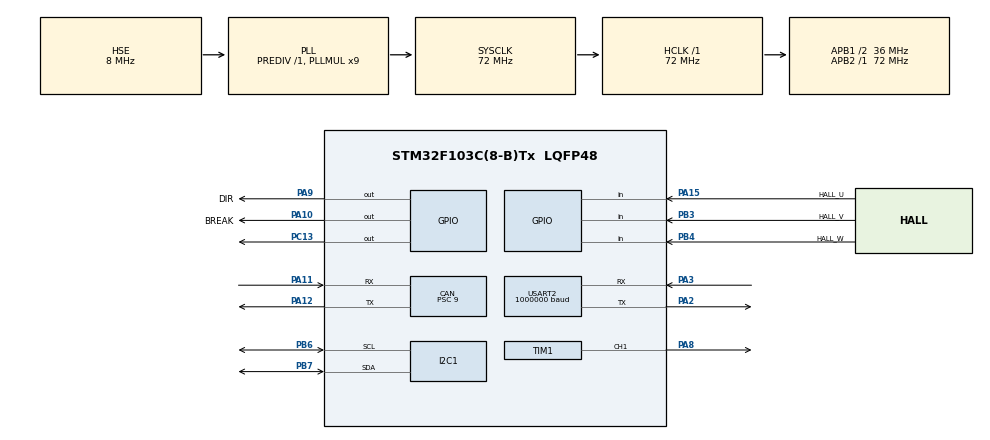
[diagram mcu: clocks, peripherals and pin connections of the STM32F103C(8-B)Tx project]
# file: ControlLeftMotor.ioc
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CAN.BS1=CAN_BS1_2TQ
CAN.CalculateBaudRate=1000000
CAN.CalculateTimeBit=1000
CAN.CalculateTimeQuantum=250.0
CAN.Prescaler=9
Dma.Request0=USART2_RX
Dma.Request1=USART2_TX
Dma.USART2_RX.0.Direction=DMA_PERIPH_TO_MEMORY
Dma.USART2_RX.0.Instance=DMA1_Channel6
Dma.USART2_RX.0.MemDataAlignment=DMA_MDATAALIGN_BYTE
Dma.USART2_RX.0.MemInc=DMA_MINC_ENABLE
Dma.USART2_RX.0.Mode=DMA_CIRCULAR
Dma.USART2_RX.0.PeriphDataAlignment=DMA_PDATAALIGN_BYTE
Dma.USART2_RX.0.PeriphInc=DMA_PINC_DISABLE
Dma.USART2_RX.0.Priority=DMA_PRIORITY_LOW
Dma.USART2_TX.1.Direction=DMA_MEMORY_TO_PERIPH
Dma.USART2_TX.1.Instance=DMA1_Channel7
Dma.USART2_TX.1.MemDataAlignment=DMA_MDATAALIGN_BYTE
Dma.USART2_TX.1.MemInc=DMA_MINC_ENABLE
Dma.USART2_TX.1.Mode=DMA_NORMAL
Dma.USART2_TX.1.PeriphDataAlignment=DMA_PDATAALIGN_BYTE
Dma.USART2_TX.1.PeriphInc=DMA_PINC_DISABLE
Dma.USART2_TX.1.Priority=DMA_PRIORITY_HIGH
FREERTOS.Tasks01=defaultTask,24,128,StartDefaultTask,Default,NULL,Dynamic,NULL,NULL;TaskReceiveCAN,48,128,ReceiveCAN,Default,NULL,Dynamic,NULL,NULL;TaskMControl,24,128,MotorControl,Default,NULL,Dynamic,NULL,NULL;TaskReadHall,48,128,ReadHall,Default,NULL,Dynamic,NULL,NULL
I2C1.DutyCycle=I2C_DUTYCYCLE_2
I2C1.I2C_Mode=I2C_Fast
Mcu.Family=STM32F1
Mcu.Name=STM32F103C(8-B)Tx
Mcu.Package=LQFP48
NVIC.DMA1_Channel6_IRQn=true\:5\:0\:false\:false\:true\:true\:false\:true\:true
NVIC.DMA1_Channel7_IRQn=true\:5\:0\:false\:false\:true\:true\:false\:true\:true
NVIC.PriorityGroup=NVIC_PRIORITYGROUP_4
NVIC.USART2_IRQn=true\:5\:0\:false\:false\:true\:true\:true\:true\:true
PA10.GPIO_Label=BREAK
PA10.GPIO_Speed=GPIO_SPEED_FREQ_HIGH
PA10.PinState=GPIO_PIN_SET
PA10.Signal=GPIO_Output
PA11.GPIO_Mode=GPIO_MODE_INPUT
PA11.GPIO_PuPd=GPIO_NOPULL
PA11.Mode=CAN_Activate
PA11.Signal=CAN_RX
PA12.Mode=CAN_Activate
PA12.Signal=CAN_TX
PA13.Mode=Serial_Wire
PA13.Signal=SYS_JTMS-SWDIO
PA14.Mode=Serial_Wire
PA14.Signal=SYS_JTCK-SWCLK
PA15.GPIO_Label=HALL_U
PA15.GPIO_Mode=GPIO_MODE_INPUT
PA15.GPIO_PuPd=GPIO_PULLUP
PA15.Signal=GPIO_Input
PA2.Mode=Asynchronous
PA2.Signal=USART2_TX
PA3.Mode=Asynchronous
PA3.Signal=USART2_RX
PA8.Signal=S_TIM1_CH1
PA9.GPIO_Label=DIR
PA9.GPIO_Speed=GPIO_SPEED_FREQ_HIGH
PA9.Signal=GPIO_Output
PB3.GPIO_Label=HALL_V
PB3.GPIO_Mode=GPIO_MODE_INPUT
PB3.GPIO_PuPd=GPIO_PULLUP
PB3.Signal=GPIO_Input
PB4.GPIO_Label=HALL_W
PB4.GPIO_Mode=GPIO_MODE_INPUT
PB4.GPIO_PuPd=GPIO_PULLUP
PB4.Signal=GPIO_Input
PB6.Mode=I2C
PB6.Signal=I2C1_SCL
PB7.Mode=I2C
PB7.Signal=I2C1_SDA
PC13-TAMPER-RTC.Signal=GPIO_Output
PD0-OSC_IN.Mode=HSE-External-Oscillator
PD0-OSC_IN.Signal=RCC_OSC_IN
PD1-OSC_OUT.Mode=HSE-External-Oscillator
PD1-OSC_OUT.Signal=RCC_OSC_OUT
ProjectManager.HeapSize=0x200
ProjectManager.StackSize=0x400
ProjectManager.TargetToolchain=MDK-ARM V5.32
RCC.AHBFreq_Value=72000000
RCC.APB1CLKDivider=RCC_HCLK_DIV2
RCC.APB1Freq_Value=36000000
RCC.APB1TimFreq_Value=72000000
RCC.APB2Freq_Value=72000000
RCC.APB2TimFreq_Value=72000000
RCC.HCLKFreq_Value=72000000
RCC.PLLMUL=RCC_PLL_MUL9
RCC.PLLSourceVirtual=RCC_PLLSOURCE_HSE
RCC.SYSCLKFreq_VALUE=72000000
RCC.SYSCLKSource=RCC_SYSCLKSOURCE_PLLCLK
RCC.USBFreq_Value=72000000
SH.S_TIM1_CH1.0=TIM1_CH1,PWM Generation1 CH1
TIM1.Channel-PWM\ Generation1\ CH1=TIM_CHANNEL_1
TIM1.Period=1000-1
TIM1.Prescaler=1800-1
USART2.BaudRate=1000000
USART2.VirtualMode=VM_ASYNC
VP_FREERTOS_VS_CMSIS_V2.Mode=CMSIS_V2
VP_TIM1_VS_ClockSourceINT.Mode=Internal
board=custom

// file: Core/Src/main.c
/* USER CODE BEGIN Header */
/**
 ******************************************************************************
 * @file           : main.c
 * @brief          : Main program body
 ******************************************************************************
 * @attention
 *
 * Copyright (c) 2025 STMicroelectronics.
 * All rights reserved.
 *
 * This software is licensed under terms that can be found in the LICENSE file
 * in the root directory of this software component.
 * If no LICENSE file comes with this software, it is provided AS-IS.
 *
 ******************************************************************************
 */
/* USER CODE END Header */
#include "main.h"
#include "cmsis_os.h"

/* USER CODE BEGIN Includes */
#include "string.h"
#include "math.h"
#include "pid.h"
#include "mpu6050.h"
#include "flashStorage.h"
#include <stdio.h>
/* USER CODE END Includes */

CAN_HandleTypeDef hcan;

I2C_HandleTypeDef hi2c1;

TIM_HandleTypeDef htim1;

UART_HandleTypeDef huart2;
DMA_HandleTypeDef hdma_usart2_rx;
DMA_HandleTypeDef hdma_usart2_tx;

/* Definitions for defaultTask */
osThreadId_t defaultTaskHandle;
const osThreadAttr_t defaultTask_attributes = {
    .name = "defaultTask",
    .stack_size = 128 * 4,
    .priority = (osPriority_t)osPriorityNormal,
};
/* Definitions for TaskReceiveCAN */
osThreadId_t TaskReceiveCANHandle;
const osThreadAttr_t TaskReceiveCAN_attributes = {
    .name = "TaskReceiveCAN",
    .stack_size = 128 * 4,
    .priority = (osPriority_t)osPriorityRealtime,
};
/* Definitions for TaskMControl */
osThreadId_t TaskMControlHandle;
const osThreadAttr_t TaskMControl_attributes = {
    .name = "TaskMControl",
    .stack_size = 128 * 4,
    .priority = (osPriority_t)osPriorityNormal,
};
/* Definitions for TaskReadHall */
osThreadId_t TaskReadHallHandle;
const osThreadAttr_t TaskReadHall_attributes = {
    .name = "TaskReadHall",
    .stack_size = 128 * 4,
    .priority = (osPriority_t)osPriorityRealtime,
};
/* USER CODE BEGIN PV */

//------------------------------------
// MPU9250
MPU6050_t MPU6050;
volatile float angleY = 0; // pitch
volatile float angleZ = 0; // yaw
volatile float gyroY = 0;  // Gy MPU6050 (don vi: deg/s)
volatile float gyroZ = 0;  // Gz
// PID
PID_t position_pid = {0};
PID_t speed_pid = {0};
PID_t pitch_pid = {0};
PID_t yaw_pid = {0};

#define CONTROL_DT 0.001f // 1 ms
#define MAX_SPEED_COMMAND 100.0f
#define JOYSTICK_DEADZONE 5.0f
//--------------------------------------
#define MAX_TILT_ANGLE 50.0f    // Góc nghiêng tối đa cho phép
#define MAX_MOVEMENT_TILT 15.0f // Góc nghiêng tối đa cho di chuyển
#define JOYSTICK_TO_TILT 0.15f  // Hệ số chuyển đổi joystick sang góc nghiêng
//--------------------------------------
#define MAX_GYRO_RATE 150.0f   // Giới hạn tốc độ góc tối đa
#define RECOVERY_KP_SCALE 0.7f // Hệ số giảm Kp khi phát hiện giật
#define RECOVERY_KD_SCALE 1.5f // Hệ số tăng Kd khi phát hiện giật
//--------------------------------------
#define BASE_PWM_FILTER_ALPHA 0.6f // Hệ số làm mượt cơ bản
#define FAST_PWM_FILTER_ALPHA 0.9f // Hệ số làm mượt khi góc lớn
#define ANGLE_THRESHOLD 5.0f       // Ngưỡng góc để thay đổi hệ số
#define MAX_PWM_CHANGE 30.0f       // Giới hạn thay đổi PWM mỗi chu kỳ
//-----------------------------------
#define MAX_PWM_OUTPUT 999.0f
#define COUNTS_PER_REV 90.0f         // 90 bước tương ứng 1 vòng quay
volatile float motorSpeedRPS = 0.0f; // tốc độ động cơ, revs per second
volatile float motorSpeedDPS = 0.0f; // tốc độ động cơ, degrees per second
//  == == PWM State == ==
float pwm_left_filtered = 0.0f;
// Cac bien toan cuc de luu trang thai hall sensor
volatile uint8_t currentState = 0;  // Trang thai hien tai cua hall sensor
volatile int8_t direction = 0;      // Huong quay cua dong co
volatile float positionOffset = 0;  // Vi tri offset
volatile uint8_t lastHallState = 0; // Trang thai hall sensor cu
volatile int32_t hallCounter = 0;   // dem so buoc (co dau: duong la quay thuan, am la quay nguoc)
float anglemotor = 0;               // Goc quay cua dong co
volatile uint8_t u = 0;
volatile uint8_t v = 0;
volatile uint8_t w = 0;
uint8_t checkrunFirtTime = 0; // Bien kiem tra lan dau doc Hall sensor
// CAN
uint8_t RxData[8] = {0};
volatile int16_t joyStickX = 0, joyStickY = 0;
CAN_RxHeaderTypeDef RxHeader;
volatile char *command = "";
// Flash danh dau PID da nhan du
typedef struct
{
  uint8_t hasKpKi;
  uint8_t hasKd;
} PID_Receive_Flags_t;
PID_Receive_Flags_t pidFlags[4] = {0}; // 0: pitch, 1: speed, 2: position, 3: yaw
// UART
uint8_t txBuffer1[50], txBuffer2[50];
volatile uint8_t activeBuffer = 0;
/* USER CODE END PV */

void SystemClock_Config(void);
static void MX_GPIO_Init(void);
static void MX_DMA_Init(void);
static void MX_CAN_Init(void);
static void MX_TIM1_Init(void);
static void MX_I2C1_Init(void);
static void MX_USART2_UART_Init(void);
void StartDefaultTask(void *argument);
void ReceiveCAN(void *argument);
void MotorControl(void *argument);
void ReadHall(void *argument);

/* USER CODE BEGIN PFP */
void updateMotors(float PWM);
void controlLoop(void);
// Ham doc trang thai hall sensor: ghep 3 tin hieu thanh 1 gia tri 3-bit
uint8_t readHallState(void);
// Ham xac dinh huong quay dua vao su chuyen doi trang thai
// Gia su cac trang thai hop le la: 101 (5), 100 (4), 110 (6), 010 (2), 011 (3), 001 (1)
// Forward sequence (quay thuan): 5 -> 4 -> 6 -> 2 -> 3 -> 1 -> 5...
// Reverse sequence (quay nguoc): 5 -> 1 -> 3 -> 2 -> 6 -> 4 -> 5...
int8_t getDirection(uint8_t last, uint8_t current);
// Ham tinh goc quay cua dong co
// Voi gia dinh: 45 bu?c (transition) tuong duong 1 vong quay => moi buoc = 8 do
float getMotorAngle(void);
// Ham nhan tin hieu CAN va xu ly CAN
void HAL_CAN_RxFifo0MsgPendingCallback(CAN_HandleTypeDef *hcan);
// ==== PWM Smoothing ====
float SmoothPWM(float prev, float target);
// ==== Clamp PWM Output ====
float ClampPWM(float pwm);
void ComputeMotorSpeed(void);
int float_to_str(float value, uint8_t *buffer);
void send_imu_data(float ay, float az, float gy, float gz);
void TryWritePIDToFlashIfReady(void);
/* USER CODE END PFP */

int main(void)
{

  /* MCU Configuration--------------------------------------------------------*/

  /* Reset of all peripherals, Initializes the Flash interface and the Systick. */
  HAL_Init();

  /* Configure the system clock */
  SystemClock_Config();

  /* Initialize all configured peripherals */
  MX_GPIO_Init();
  MX_DMA_Init();
  MX_CAN_Init();
  MX_TIM1_Init();
  MX_I2C1_Init();
  MX_USART2_UART_Init();
  /* USER CODE BEGIN 2 */
  MPU6050_Init(&hi2c1, 2, 2, 0x03);
  HAL_Delay(100);

  // Bật chế độ Master (nếu dùng đọc từ HMC5883L qua MPU6050)
  MPU6050_Master(&hi2c1);

  // Setup HMC5883L thông qua MPU6050 (MPU6050 làm master, HMC là slave)
  HMC5883L_Setup(&hi2c1);

  // Setup đọc dữ liệu từ HMC5883L qua MPU6050
  MPU6050_Slave_Read(&hi2c1);

  HAL_TIM_PWM_Start(&htim1, TIM_CHANNEL_1);

  // Doc thong so PID tu bo nho flash
  if (Flash_Read_PID(&position_pid, &speed_pid, &pitch_pid, &yaw_pid) != HAL_OK)
  {
    // Nếu chưa có dữ liệu hợp lệ thì dùng giá trị mặc định
    Flash_Load_Default_PID(&position_pid, &speed_pid, &pitch_pid, &yaw_pid);

    // Và ghi giá trị mặc định đó vào Flash
    Flash_Write_PID(&position_pid, &speed_pid, &pitch_pid, &yaw_pid);
  }
  // Bat yeu cau ngat khi du lieu CAN nhan ve duoc luu tru goi tin o FIFO1 khi dung ID
  if (HAL_CAN_Start(&hcan) != HAL_OK)
  {
    Error_Handler();
  }
  HAL_CAN_ActivateNotification(&hcan, CAN_IT_RX_FIFO0_MSG_PENDING);
  // Enable CAN RX interrupt
  HAL_NVIC_SetPriority(CAN1_RX0_IRQn, 5, 0);
  HAL_NVIC_EnableIRQ(CAN1_RX0_IRQn);
  // UART
  HAL_UART_Init(&huart2);
  /* USER CODE END 2 */

  /* Init scheduler */
  osKernelInitialize();

  /* Create the thread(s) */
  /* creation of defaultTask */
  defaultTaskHandle = osThreadNew(StartDefaultTask, NULL, &defaultTask_attributes);

  /* creation of TaskReceiveCAN */
  TaskReceiveCANHandle = osThreadNew(ReceiveCAN, NULL, &TaskReceiveCAN_attributes);

  /* creation of TaskMControl */
  TaskMControlHandle = osThreadNew(MotorControl, NULL, &TaskMControl_attributes);

  /* creation of TaskReadHall */
  TaskReadHallHandle = osThreadNew(ReadHall, NULL, &TaskReadHall_attributes);

  /* Start scheduler */
  osKernelStart();

  /* We should never get here as control is now taken by the scheduler */

  /* Infinite loop */
  while (1)
  {

  }
}

void SystemClock_Config(void)
{
  RCC_OscInitTypeDef RCC_OscInitStruct = {0};
  RCC_ClkInitTypeDef RCC_ClkInitStruct = {0};

  /** Initializes the RCC Oscillators according to the specified parameters
   * in the RCC_OscInitTypeDef structure.
   */
  RCC_OscInitStruct.OscillatorType = RCC_OSCILLATORTYPE_HSE;
  RCC_OscInitStruct.HSEState = RCC_HSE_ON;
  RCC_OscInitStruct.HSEPredivValue = RCC_HSE_PREDIV_DIV1;
  RCC_OscInitStruct.HSIState = RCC_HSI_ON;
  RCC_OscInitStruct.PLL.PLLState = RCC_PLL_ON;
  RCC_OscInitStruct.PLL.PLLSource = RCC_PLLSOURCE_HSE;
  RCC_OscInitStruct.PLL.PLLMUL = RCC_PLL_MUL9;
  if (HAL_RCC_OscConfig(&RCC_OscInitStruct) != HAL_OK)
  {
    Error_Handler();
  }

  /** Initializes the CPU, AHB and APB buses clocks
   */
  RCC_ClkInitStruct.ClockType = RCC_CLOCKTYPE_HCLK | RCC_CLOCKTYPE_SYSCLK | RCC_CLOCKTYPE_PCLK1 | RCC_CLOCKTYPE_PCLK2;
  RCC_ClkInitStruct.SYSCLKSource = RCC_SYSCLKSOURCE_PLLCLK;
  RCC_ClkInitStruct.AHBCLKDivider = RCC_SYSCLK_DIV1;
  RCC_ClkInitStruct.APB1CLKDivider = RCC_HCLK_DIV2;
  RCC_ClkInitStruct.APB2CLKDivider = RCC_HCLK_DIV1;

  if (HAL_RCC_ClockConfig(&RCC_ClkInitStruct, FLASH_LATENCY_2) != HAL_OK)
  {
    Error_Handler();
  }
}

static void MX_CAN_Init(void)
{

  hcan.Instance = CAN1;
  hcan.Init.Prescaler = 9;
  hcan.Init.Mode = CAN_MODE_NORMAL;
  hcan.Init.SyncJumpWidth = CAN_SJW_1TQ;
  hcan.Init.TimeSeg1 = CAN_BS1_2TQ;
  hcan.Init.TimeSeg2 = CAN_BS2_1TQ;
  hcan.Init.TimeTriggeredMode = DISABLE;
  hcan.Init.AutoBusOff = DISABLE;
  hcan.Init.AutoWakeUp = DISABLE;
  hcan.Init.AutoRetransmission = DISABLE;
  hcan.Init.ReceiveFifoLocked = DISABLE;
  hcan.Init.TransmitFifoPriority = DISABLE;
  if (HAL_CAN_Init(&hcan) != HAL_OK)
  {
    Error_Handler();
  }
  /* USER CODE BEGIN CAN_Init 2 */
  CAN_FilterTypeDef canfilterconfig;

  canfilterconfig.FilterActivation = CAN_FILTER_ENABLE;
  canfilterconfig.FilterBank = 0;
  canfilterconfig.FilterFIFOAssignment = CAN_RX_FIFO0;
  canfilterconfig.FilterIdHigh = 0x0000 << 5; // Chap nhan tat ca cac ID
  canfilterconfig.FilterIdLow = 0x0000;
  canfilterconfig.FilterMaskIdHigh = 0x0000 << 5; // Chap nhan tat ca cac ID
  canfilterconfig.FilterMaskIdLow = 0x0000;
  canfilterconfig.FilterMode = CAN_FILTERMODE_IDMASK;
  canfilterconfig.FilterScale = CAN_FILTERSCALE_32BIT;
  canfilterconfig.SlaveStartFilterBank = 0;

  HAL_CAN_ConfigFilter(&hcan, &canfilterconfig);
  HAL_NVIC_SetPriority(CAN1_RX0_IRQn, 0, 0);
  HAL_NVIC_EnableIRQ(CAN1_RX0_IRQn);
  /* USER CODE END CAN_Init 2 */
}

static void MX_I2C1_Init(void)
{

  hi2c1.Instance = I2C1;
  hi2c1.Init.ClockSpeed = 400000;
  hi2c1.Init.DutyCycle = I2C_DUTYCYCLE_2;
  hi2c1.Init.OwnAddress1 = 0;
  hi2c1.Init.AddressingMode = I2C_ADDRESSINGMODE_7BIT;
  hi2c1.Init.DualAddressMode = I2C_DUALADDRESS_DISABLE;
  hi2c1.Init.OwnAddress2 = 0;
  hi2c1.Init.GeneralCallMode = I2C_GENERALCALL_DISABLE;
  hi2c1.Init.NoStretchMode = I2C_NOSTRETCH_DISABLE;
  if (HAL_I2C_Init(&hi2c1) != HAL_OK)
  {
    Error_Handler();
  }
}

static void MX_TIM1_Init(void)
{

  TIM_ClockConfigTypeDef sClockSourceConfig = {0};
  TIM_MasterConfigTypeDef sMasterConfig = {0};
  TIM_OC_InitTypeDef sConfigOC = {0};
  TIM_BreakDeadTimeConfigTypeDef sBreakDeadTimeConfig = {0};

  htim1.Instance = TIM1;
  htim1.Init.Prescaler = 1800 - 1;
  htim1.Init.CounterMode = TIM_COUNTERMODE_UP;
  htim1.Init.Period = 1000 - 1;
  htim1.Init.ClockDivision = TIM_CLOCKDIVISION_DIV1;
  htim1.Init.RepetitionCounter = 0;
  htim1.Init.AutoReloadPreload = TIM_AUTORELOAD_PRELOAD_DISABLE;
  if (HAL_TIM_Base_Init(&htim1) != HAL_OK)
  {
    Error_Handler();
  }
  sClockSourceConfig.ClockSource = TIM_CLOCKSOURCE_INTERNAL;
  if (HAL_TIM_ConfigClockSource(&htim1, &sClockSourceConfig) != HAL_OK)
  {
    Error_Handler();
  }
  if (HAL_TIM_PWM_Init(&htim1) != HAL_OK)
  {
    Error_Handler();
  }
  sMasterConfig.MasterOutputTrigger = TIM_TRGO_RESET;
  sMasterConfig.MasterSlaveMode = TIM_MASTERSLAVEMODE_DISABLE;
  if (HAL_TIMEx_MasterConfigSynchronization(&htim1, &sMasterConfig) != HAL_OK)
  {
    Error_Handler();
  }
  sConfigOC.OCMode = TIM_OCMODE_PWM1;
  sConfigOC.Pulse = 0;
  sConfigOC.OCPolarity = TIM_OCPOLARITY_HIGH;
  sConfigOC.OCNPolarity = TIM_OCNPOLARITY_HIGH;
  sConfigOC.OCFastMode = TIM_OCFAST_DISABLE;
  sConfigOC.OCIdleState = TIM_OCIDLESTATE_RESET;
  sConfigOC.OCNIdleState = TIM_OCNIDLESTATE_RESET;
  if (HAL_TIM_PWM_ConfigChannel(&htim1, &sConfigOC, TIM_CHANNEL_1) != HAL_OK)
  {
    Error_Handler();
  }
  sBreakDeadTimeConfig.OffStateRunMode = TIM_OSSR_DISABLE;
  sBreakDeadTimeConfig.OffStateIDLEMode = TIM_OSSI_DISABLE;
  sBreakDeadTimeConfig.LockLevel = TIM_LOCKLEVEL_OFF;
  sBreakDeadTimeConfig.DeadTime = 0;
  sBreakDeadTimeConfig.BreakState = TIM_BREAK_DISABLE;
  sBreakDeadTimeConfig.BreakPolarity = TIM_BREAKPOLARITY_HIGH;
  sBreakDeadTimeConfig.AutomaticOutput = TIM_AUTOMATICOUTPUT_DISABLE;
  if (HAL_TIMEx_ConfigBreakDeadTime(&htim1, &sBreakDeadTimeConfig) != HAL_OK)
  {
    Error_Handler();
  }
  HAL_TIM_MspPostInit(&htim1);
}

static void MX_USART2_UART_Init(void)
{

  huart2.Instance = USART2;
  huart2.Init.BaudRate = 1000000;
  huart2.Init.WordLength = UART_WORDLENGTH_8B;
  huart2.Init.StopBits = UART_STOPBITS_1;
  huart2.Init.Parity = UART_PARITY_NONE;
  huart2.Init.Mode = UART_MODE_TX_RX;
  huart2.Init.HwFlowCtl = UART_HWCONTROL_NONE;
  huart2.Init.OverSampling = UART_OVERSAMPLING_16;
  if (HAL_UART_Init(&huart2) != HAL_OK)
  {
    Error_Handler();
  }
  /* USER CODE BEGIN USART2_Init 2 */
  huart2.Instance->CR3 |= USART_CR3_DMAT;
  /* USER CODE END USART2_Init 2 */
}

static void MX_DMA_Init(void)
{

  /* DMA controller clock enable */
  __HAL_RCC_DMA1_CLK_ENABLE();

  /* DMA interrupt init */
  /* DMA1_Channel6_IRQn interrupt configuration */
  HAL_NVIC_SetPriority(DMA1_Channel6_IRQn, 5, 0);
  HAL_NVIC_EnableIRQ(DMA1_Channel6_IRQn);
  /* DMA1_Channel7_IRQn interrupt configuration */
  HAL_NVIC_SetPriority(DMA1_Channel7_IRQn, 5, 0);
  HAL_NVIC_EnableIRQ(DMA1_Channel7_IRQn);
}

static void MX_GPIO_Init(void)
{
  GPIO_InitTypeDef GPIO_InitStruct = {0};

  /* GPIO Ports Clock Enable */
  __HAL_RCC_GPIOC_CLK_ENABLE();
  __HAL_RCC_GPIOD_CLK_ENABLE();
  __HAL_RCC_GPIOA_CLK_ENABLE();
  __HAL_RCC_GPIOB_CLK_ENABLE();

  /*Configure GPIO pin Output Level */
  HAL_GPIO_WritePin(GPIOC, GPIO_PIN_13, GPIO_PIN_RESET);

  /*Configure GPIO pin Output Level */
  HAL_GPIO_WritePin(DIR_GPIO_Port, DIR_Pin, GPIO_PIN_RESET);

  /*Configure GPIO pin Output Level */
  HAL_GPIO_WritePin(BREAK_GPIO_Port, BREAK_Pin, GPIO_PIN_SET);

  /*Configure GPIO pin : PC13 */
  GPIO_InitStruct.Pin = GPIO_PIN_13;
  GPIO_InitStruct.Mode = GPIO_MODE_OUTPUT_PP;
  GPIO_InitStruct.Pull = GPIO_NOPULL;
  GPIO_InitStruct.Speed = GPIO_SPEED_FREQ_LOW;
  HAL_GPIO_Init(GPIOC, &GPIO_InitStruct);

  /*Configure GPIO pins : DIR_Pin BREAK_Pin */
  GPIO_InitStruct.Pin = DIR_Pin | BREAK_Pin;
  GPIO_InitStruct.Mode = GPIO_MODE_OUTPUT_PP;
  GPIO_InitStruct.Pull = GPIO_NOPULL;
  GPIO_InitStruct.Speed = GPIO_SPEED_FREQ_HIGH;
  HAL_GPIO_Init(GPIOA, &GPIO_InitStruct);

  /*Configure GPIO pin : HALL_U_Pin */
  GPIO_InitStruct.Pin = HALL_U_Pin;
  GPIO_InitStruct.Mode = GPIO_MODE_INPUT;
  GPIO_InitStruct.Pull = GPIO_PULLUP;
  HAL_GPIO_Init(HALL_U_GPIO_Port, &GPIO_InitStruct);

  /*Configure GPIO pins : HALL_V_Pin HALL_W_Pin */
  GPIO_InitStruct.Pin = HALL_V_Pin | HALL_W_Pin;
  GPIO_InitStruct.Mode = GPIO_MODE_INPUT;
  GPIO_InitStruct.Pull = GPIO_PULLUP;
  HAL_GPIO_Init(GPIOB, &GPIO_InitStruct);

}

/* USER CODE BEGIN 4 */
void HAL_CAN_RxFifo0MsgPendingCallback(CAN_HandleTypeDef *hcan)
{
  int16_t rawjoyStickX = 0;
  int16_t rawjoyStickY = 0;
  if (HAL_CAN_GetRxMessage(hcan, CAN_RX_FIFO0, &RxHeader, RxData) == HAL_OK)
  {
    switch (RxHeader.StdId)
    {
    case 0x447: // Nhan gia tri joystick X
      rawjoyStickX = RxData[0] ? (((int16_t)RxData[1] << 8) | RxData[2]) : -(((int16_t)RxData[1] << 8) | RxData[2]);
      joyStickX = (rawjoyStickX > 100 || rawjoyStickX < -100) ? 0 : rawjoyStickX;
      break;
    case 0x448: // Nhan gia tri joystick Y
      rawjoyStickY = RxData[0] ? (((int16_t)RxData[1] << 8) | RxData[2]) : -(((int16_t)RxData[1] << 8) | RxData[2]);
      joyStickY = (rawjoyStickY > 100 || rawjoyStickY < -100) ? 0 : rawjoyStickY;
      break;
    case 0x500: // Pitch Kp/Ki
      memcpy(&pitch_pid.Kp, &RxData[0], sizeof(float));
      memcpy(&pitch_pid.Ki, &RxData[4], sizeof(float));
      pidFlags[0].hasKpKi = 1;
      TryWritePIDToFlashIfReady();
      break;

    case 0x501: // Speed Kp/Ki
      memcpy(&speed_pid.Kp, &RxData[0], sizeof(float));
      memcpy(&speed_pid.Ki, &RxData[4], sizeof(float));
      pidFlags[1].hasKpKi = 1;
      TryWritePIDToFlashIfReady();
      break;

    case 0x502: // Position Kp/Ki
      memcpy(&position_pid.Kp, &RxData[0], sizeof(float));
      memcpy(&position_pid.Ki, &RxData[4], sizeof(float));
      pidFlags[2].hasKpKi = 1;
      TryWritePIDToFlashIfReady();
      break;

    case 0x503: // Yaw Kp/Ki
      memcpy(&yaw_pid.Kp, &RxData[0], sizeof(float));
      memcpy(&yaw_pid.Ki, &RxData[4], sizeof(float));
      pidFlags[3].hasKpKi = 1;
      TryWritePIDToFlashIfReady();
      break;

    case 0x510: // Pitch Kd
      memcpy(&pitch_pid.Kd, &RxData[0], sizeof(float));
      pidFlags[0].hasKd = 1;
      TryWritePIDToFlashIfReady();
      break;

    case 0x511: // Speed Kd
      memcpy(&speed_pid.Kd, &RxData[0], sizeof(float));
      pidFlags[1].hasKd = 1;
      TryWritePIDToFlashIfReady();
      break;

    case 0x512: // Position Kd
      memcpy(&position_pid.Kd, &RxData[0], sizeof(float));
      pidFlags[2].hasKd = 1;
      TryWritePIDToFlashIfReady();
      break;

    case 0x513: // Yaw Kd
      memcpy(&yaw_pid.Kd, &RxData[0], sizeof(float));
      pidFlags[3].hasKd = 1;
      TryWritePIDToFlashIfReady();
      break;
    default:
      Error_Handler();
      break;
    }
  }
  else
  {
    Error_Handler();
  }
}

void TryWritePIDToFlashIfReady(void)
{
  for (int i = 0; i < 4; i++)
  {
    if (!pidFlags[i].hasKpKi || !pidFlags[i].hasKd)
      return; // chưa nhận đủ PID
  }

  // Đã đủ → ghi vào Flash
  Flash_Write_PID(&position_pid, &speed_pid, &pitch_pid, &yaw_pid);

  // Reset cờ
  for (int i = 0; i < 4; i++)
  {
    pidFlags[i].hasKpKi = 0;
    pidFlags[i].hasKd = 0;
  }
}

void HAL_UART_TxCpltCallback(UART_HandleTypeDef *huart)
{
  if (huart->Instance == USART2)
  {
    //    HAL_GPIO_TogglePin(GPIOC,GPIO_PIN_13);
    //		HAL_Delay(100);
  }
}

int float_to_str(float value, uint8_t *buffer)
{
  uint8_t *ptr = buffer;

  if (value < 0)
  {
    *ptr++ = '-';
    value = -value;
  }

  int integer = (int)value;
  int fraction = (int)((value - integer) * 1000 + 0.5f);

  if (integer >= 100)
  {
    *ptr++ = '0' + integer / 100;
    integer %= 100;
  }
  *ptr++ = '0' + integer / 10;
  *ptr++ = '0' + integer % 10;
  *ptr++ = '.';
  *ptr++ = '0' + fraction / 100;
  *ptr++ = '0' + (fraction / 10) % 10;
  *ptr++ = '0' + fraction % 10;

  return ptr - buffer;
}

void send_imu_data(float ay, float az, float gy, float gz)
{
  static char uart_buffer[50] = "0"; // Static buffer to avoid stack issues
  int len = 0;

  // Format theo đúng mẫu "ay:12.345,az:23.456,gy:34.567,gz:45.678\n"
  len = sprintf(uart_buffer, "ay:%.3f,az:%.3f,gy:%.3f,gz:%.3f\n",
                ay, az, gy, gz);

  // Kiểm tra trạng thái UART và DMA
  if (huart2.gState == HAL_UART_STATE_READY &&
      huart2.hdmatx->State == HAL_DMA_STATE_READY)
  {
    if (HAL_UART_Transmit_DMA(&huart2, (uint8_t *)uart_buffer, len) != HAL_OK)
    {
      // Fallback to normal transmission if DMA fails
      HAL_UART_Transmit(&huart2, (uint8_t *)uart_buffer, len, 10);
    }
  }
}

void updateMotors(float PWM)
{
  float target_abs_pwm = fminf(fabsf(PWM), MAX_PWM_OUTPUT);
  if (target_abs_pwm >= -1 && target_abs_pwm <= 1)
  {
    HAL_GPIO_WritePin(BREAK_GPIO_Port, BREAK_Pin, GPIO_PIN_SET);
  }
  else
  {
    HAL_GPIO_WritePin(BREAK_GPIO_Port, BREAK_Pin, GPIO_PIN_RESET);
    HAL_GPIO_WritePin(DIR_GPIO_Port, DIR_Pin, PWM > 0 ? GPIO_PIN_RESET : GPIO_PIN_SET);
    __HAL_TIM_SET_COMPARE(&htim1, TIM_CHANNEL_1, (uint32_t)fabsf(target_abs_pwm));
  }
}

uint8_t readHallState(void)
{
  // Doc trang thai hall sensor
  // Ghep 3 trang thai thanh 1 gia tri 3-bit
  u = HAL_GPIO_ReadPin(HALL_U_GPIO_Port, HALL_U_Pin);
  v = HAL_GPIO_ReadPin(HALL_V_GPIO_Port, HALL_V_Pin);
  w = HAL_GPIO_ReadPin(HALL_W_GPIO_Port, HALL_W_Pin);
  return (u << 2) | (v << 1) | w;
}

int8_t getDirection(uint8_t last, uint8_t current)
{
  // Bang chuyen doi trang thai hop le
  // Gia su cac trang thai hop le la: 101 (5), 100 (4), 110 (6), 010 (2), 011 (3), 001 (1)
  const uint8_t validTransitions[12][2] = {
      {5, 4}, {4, 6}, {6, 2}, {2, 3}, {3, 1}, {1, 5}, // Forward
      {5, 1},
      {1, 3},
      {3, 2},
      {2, 6},
      {6, 4},
      {4, 5} // Reverse
  };
  for (int i = 0; i < 12; i++)
  {
    if (last == validTransitions[i][0] && current == validTransitions[i][1])
    {
      return (i < 6) ? 1 : -1;
    }
  }
  return 0; // Trang thai khong hop le
  //	return current!= last ? 1:0;
}

float getMotorAngle(void)
{
  return ((float)hallCounter / 90.0f) * 360.0f; // Hoac: hallCounter * 8.0f;
}

// ==== Clamp PWM Output ====
float ClampPWM(float pwm)
{
  if (pwm > MAX_PWM_OUTPUT)
    return MAX_PWM_OUTPUT;
  if (pwm < -MAX_PWM_OUTPUT)
    return -MAX_PWM_OUTPUT;
  return pwm;
}

// ==== PWM Smoothing ====
float SmoothPWM(float prev, float target)
{
  float currentAngle = angleY;
  float currentGyro = gyroY;
  float alpha = 0;
  float max_change = 0;

  // Điều chỉnh giới hạn thay đổi PWM theo góc nghiêng
  if (fabsf(currentAngle) > 30.0f)
  {
    max_change = MAX_PWM_CHANGE * 4.0f; // Tăng giới hạn nhiều hơn
    alpha = 1.0f;                       // Không làm mượt ở góc lớn
  }
  else if (fabsf(currentAngle) > 15.0f)
  {
    max_change = MAX_PWM_CHANGE * 3.0f;
    alpha = FAST_PWM_FILTER_ALPHA;
  }
  else if (fabsf(currentAngle) > 5.0f)
  {
    max_change = MAX_PWM_CHANGE * 2.0f;
    alpha = (BASE_PWM_FILTER_ALPHA + FAST_PWM_FILTER_ALPHA) / 2;
  }
  else
  {
    max_change = MAX_PWM_CHANGE;
    alpha = BASE_PWM_FILTER_ALPHA;
  }

  float delta = target - prev;
  if (delta > max_change)
    delta = max_change;
  if (delta < -max_change)
    delta = -max_change;

  return prev + alpha * delta;
}
/* Hàm tính tốc độ động cơ — gọi mỗi khi controlLoop chạy */
void ComputeMotorSpeed(void)
{
  static int32_t lastHallCount = 0;
  int32_t deltaCount = hallCounter - lastHallCount;

  // 1) Tính rev/s (revolutions per second)
  motorSpeedRPS = (deltaCount / COUNTS_PER_REV) / CONTROL_DT;

  // 2) Nếu muốn độ/giây (degrees per second)
  motorSpeedDPS = (deltaCount * 360.0f / COUNTS_PER_REV) / CONTROL_DT;

  // Cập nhật cho lần sau
  lastHallCount = hallCounter;
}
void controlLoop(void)
{
  float currentAngle = angleY;
  float currentGyro = gyroY;
  ComputeMotorSpeed();

  // Kiểm tra góc an toàn
  if (fabsf(currentAngle) < MAX_TILT_ANGLE)
  {
    float speed_cmd = 0;   // Tốc độ mong muốn từ PID tốc độ
    float balance_cmd = 0; // Moment cân bằng từ PID góc
    float pwm_output = 0;  // PWM cuối cùng

    static int32_t initialPosition = 0;
    static uint8_t isHolding = 0;
    static uint8_t isInitialized = 0;
    int32_t currentSpeed = motorSpeedRPS * COUNTS_PER_REV;

    // 1. Điều khiển vị trí (tầng ngoài nhất)
    if (fabsf((float_t)joyStickY) > JOYSTICK_DEADZONE)
    {
      // Chế độ điều khiển tốc độ từ joystick
      float velocity_target = (joyStickY / 100.0f) * MAX_SPEED_COMMAND;
      speed_cmd = PID_Compute(&speed_pid, velocity_target, currentSpeed, CONTROL_DT);
      isHolding = 0;
      isInitialized = 0;
    }
    else if (fabsf(currentAngle) < 15.0f)
    {
      // Chế độ giữ vị trí
      if (!isInitialized)
      {
        initialPosition = hallCounter;
        isInitialized = 1;
        isHolding = 1;
        PID_Reset(&position_pid);
        PID_Reset(&speed_pid);
      }

      if (isHolding)
      {
        // PID vị trí -> tốc độ mong muốn
        float position_cmd = PID_Compute(&position_pid, initialPosition, hallCounter, CONTROL_DT);
        position_cmd = fminf(fmaxf(position_cmd, -30.0f), 30.0f);

        // PID tốc độ -> moment cần thiết
        speed_cmd = PID_Compute(&speed_pid, position_cmd, currentSpeed, CONTROL_DT);
        speed_cmd = fminf(fmaxf(speed_cmd, -30.0f), 30.0f);
      }
    }

    // 2. Điều khiển cân bằng (tầng trong cùng)
    //    float base_Kp = 24.0f;
    //    float base_Kd = 0.8f;
    float base_Kp = pitch_pid.Kp;
    float base_Kd = pitch_pid.Kd;
    float Kp = base_Kp;
    float Kd = base_Kd;

    // Điều chỉnh hệ số theo góc nghiêng
    if (fabsf(currentAngle) > 20.0f)
    {
      Kp = base_Kp * 1.5f; // Tăng mạnh khi góc lớn
      Kd = base_Kd * 1.3f;
    }
    else if (fabsf(currentAngle) > 10.0f)
    {
      Kp = base_Kp * 1.2f;
      Kd = base_Kd * 1.1f;
    }
    else if (fabsf(currentAngle) < 5.0f)
    {
      Kp = base_Kp * 0.8f; // Giảm khi gần cân bằng
      Kd = base_Kd * 1.2f;
    }

    // Xử lý chuyển động đột ngột
    if (fabsf(currentGyro) > MAX_GYRO_RATE)
    {
      Kp *= RECOVERY_KP_SCALE;
      Kd *= RECOVERY_KD_SCALE;
    }

    // Tính toán moment cân bằng
    float target_angle = 0;
    if (fabsf((float_t)joyStickY) > JOYSTICK_DEADZONE)
    {
      target_angle = -(joyStickY / 100.0f) * MAX_MOVEMENT_TILT;
    }
    float angleError = currentAngle - target_angle;
    balance_cmd = Kp * angleError + Kd * currentGyro;

    // 3. Tổng hợp các thành phần điều khiển
    float balance_weight = 1.0f;
    float speed_weight = 0.3f;
    pwm_output = -balance_weight * balance_cmd + speed_weight * speed_cmd;

    // 4. Xử lý quay (turning)
    if (fabsf((float_t)joyStickX) <= 100)
    {
      float base_turn_power = 200.0f;
      float angle_factor = 1.0f - (fabsf(currentAngle) / MAX_TILT_ANGLE);
      float turn_cmd = (joyStickX / 100.0f) * base_turn_power * angle_factor;
      pwm_output += turn_cmd;
    }

    // 5. Giới hạn và làm mượt PWM
    pwm_output = ClampPWM(pwm_output);
    pwm_left_filtered = SmoothPWM(pwm_left_filtered, pwm_output);
    pwm_left_filtered = ClampPWM(pwm_left_filtered);

    // 6. Xuất PWM ra động cơ
    updateMotors(pwm_left_filtered);
  }
  else
  {
    // Dừng động cơ khi vượt quá góc an toàn
    updateMotors(0);
    pwm_left_filtered = 0;
  }
}
/* USER CODE END 4 */

void StartDefaultTask(void *argument)
{
  for (;;)
  {
    osDelay(1);
  }
}

void ReceiveCAN(void *argument)
{
  /* USER CODE BEGIN ReceiveCAN */
  /* Infinite loop */
  for (;;)
  {
    MPU6050_Read_All(&hi2c1, &MPU6050);
    MPU6050_Parsing(&MPU6050);
    angleY = MPU6050.Pitch;
    angleZ = MPU6050.Yaw;
    gyroY = MPU6050.Gy;
    gyroZ = MPU6050.Gz;
    send_imu_data(angleY, angleZ, gyroY, gyroZ);
    osDelay(1);
  }
  /* USER CODE END ReceiveCAN */
}

void MotorControl(void *argument)
{
  /* USER CODE BEGIN MotorControl */
  /* Infinite loop */
  for (;;)
  {
    controlLoop();
    osDelay(1);
  }
  /* USER CODE END MotorControl */
}

void ReadHall(void *argument)
{
  /* USER CODE BEGIN ReadHall */
  /* Infinite loop */
  for (;;)
  {
    // Doc trang thai hall sensor
    currentState = readHallState();
    if (checkrunFirtTime == 0)
    {
      lastHallState = currentState;
      checkrunFirtTime = 1;
    }
    else
      direction = getDirection(lastHallState, currentState);
    if (direction != 0)
    {
      hallCounter += direction;
      lastHallState = currentState;
    }
    // Cap nhat vi tri dong co
    positionOffset = getMotorAngle(); // Gia tri do duoc tu hall sensor
                                      // Tinh sai so vi tri
    osDelay(1);
  }
  /* USER CODE END ReadHall */
}

void Error_Handler(void)
{
  /* USER CODE BEGIN Error_Handler_Debug */
  /* User can add his own implementation to report the HAL error return state */
  __disable_irq();
  while (1)
  {
    HAL_GPIO_WritePin(GPIOC, GPIO_PIN_13, GPIO_PIN_RESET);
    HAL_Delay(100);
    HAL_GPIO_WritePin(GPIOC, GPIO_PIN_13, GPIO_PIN_SET);
    HAL_Delay(100);
  }
  /* USER CODE END Error_Handler_Debug */
}
